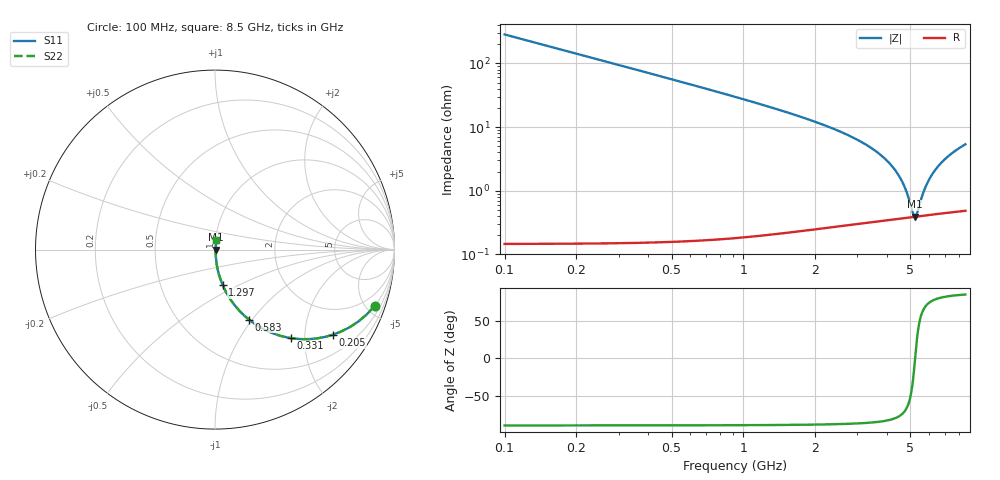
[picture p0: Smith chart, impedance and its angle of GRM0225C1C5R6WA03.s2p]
!Murata Part Number: GRM0225C1C5R6WA03
!These Parameters are Measured in Series Mode Connection
!Data Generated on Mar 30, 2021
!  o--ll--o
!Port1  Port2
!  o------o
!Operation Temp=25[degC], DC Bias Voltage=0[V]
!Freq. Start=100[MHz] Stop=9[GHz] 401[Steps]
# Hz S RI R 50
!Freq.(Hz) S11(Real) S11(Imag) S21(Real) S21(Imag) S12(Real) S12(Imag) S22(Real) S22(Imag)
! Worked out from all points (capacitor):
!   401 points, 100 MHz to 8.5 GHz, reference 50 ohm
!   read as one part in series: C = 5.6 pF near 142 MHz
!   lowest |Z| = 390 mohm at 5.224 GHz (marker M1)
!   series resonance near 5.235 GHz, so ESL is about 170 pH
!   S11 on the Smith chart (normalised r, x): 100 MHz: 1.00, -5.68; 205 MHz: 1.00, -2.77; 331 MHz: 1.00, -1.71; 583 MHz: 1.00, -0.96; 1.297 GHz: 1.00, -0.41; 8.5 GHz: 1.01, +0.11
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1e8  0.8896 -0.3131  0.1104 0.3131  0.1104 0.3131  0.8896 -0.3131
2.05e8  0.6569 -0.4742  0.3431 0.4742  0.3431 0.4742  0.6569 -0.4742
3.31e8  0.4224 -0.4931  0.5776 0.4931  0.5776 0.4931  0.4224 -0.4931
4.36e8  0.2955 -0.4551  0.7045 0.4551  0.7045 0.4551  0.2955 -0.4551
5.83e8  0.1887 -0.3896  0.8113 0.3896  0.8113 0.3896  0.1887 -0.3896
8.56e8  0.0955 -0.2912  0.9045 0.2912  0.9045 0.2912  0.0955 -0.2912
1.297e9  0.0421 -0.1959  0.9579 0.1959  0.9579 0.1959  0.0421 -0.1959
1.507e9  0.0308 -0.1665  0.9692 0.1665  0.9692 0.1665  0.0308 -0.1665
2.914e9  0.00732 -0.066  0.9927 0.066  0.9927 0.066  0.00732 -0.066
3.733e9  0.00466 -0.0366  0.9953 0.0366  0.9953 0.0366  0.00466 -0.0366
4.3e9  0.00398 -0.021  0.996 0.021  0.996 0.021  0.00398 -0.021
4.72e9  0.00382 -0.011  0.9962 0.011  0.9962 0.011  0.00382 -0.011
4.888e9  0.00381 -0.00728  0.9962 0.00728  0.9962 0.00728  0.00381 -0.00728
5.119e9  0.00385 -0.00237  0.9962 0.00237  0.9962 0.00237  0.00385 -0.00237
5.224e9  0.00388 -0.000223  0.9961 0.000223  0.9961 0.000223  0.00388 -0.000223
5.329e9  0.00392 0.00188  0.9961 -0.00188  0.9961 -0.00188  0.00392 0.00188
5.707e9  0.00413 0.00913  0.9959 -0.00913  0.9959 -0.00913  0.00413 0.00913
5.959e9  0.00432 0.0137  0.9957 -0.0137  0.9957 -0.0137  0.00432 0.0137
6.274e9  0.0046 0.0192  0.9954 -0.0192  0.9954 -0.0192  0.0046 0.0192
6.652e9  0.00499 0.0255  0.995 -0.0255  0.995 -0.0255  0.00499 0.0255
7.114e9  0.00554 0.0327  0.9945 -0.0327  0.9945 -0.0327  0.00554 0.0327
8.5e9  0.0076 0.0527  0.9924 -0.0527  0.9924 -0.0527  0.0076 0.0527
